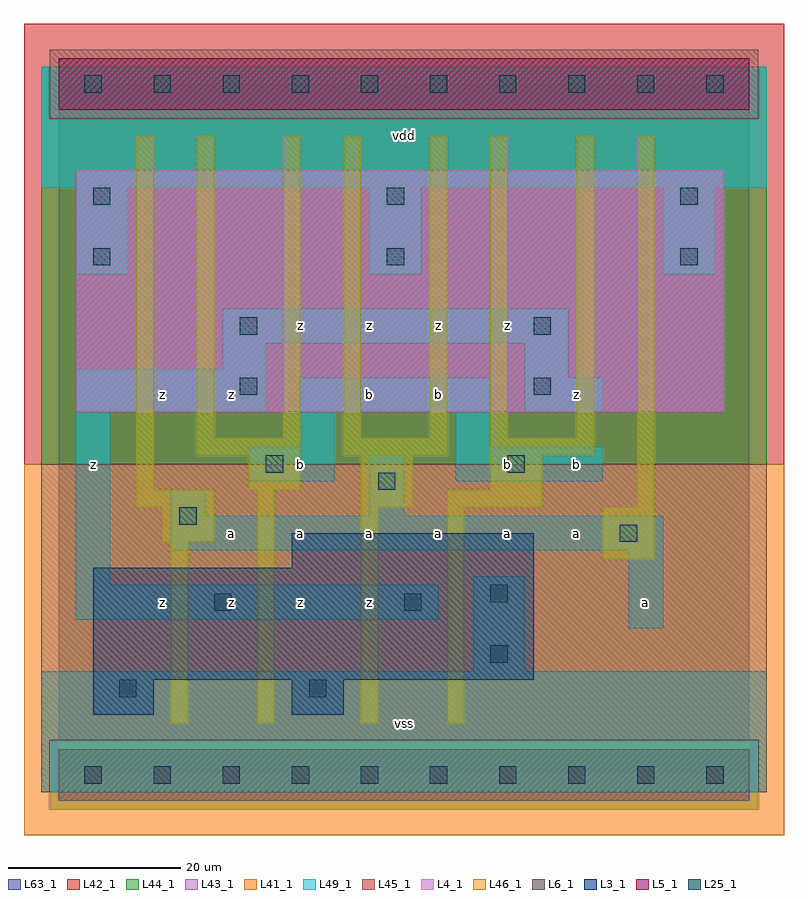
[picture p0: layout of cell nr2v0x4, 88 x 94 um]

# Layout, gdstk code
import gdstk
lib = gdstk.Library(unit=1e-6, precision=1e-09)
def R(c, l, rs):  # rectangles x0, y0, x1, y1
    for r in rs: c.add(gdstk.rectangle(r[:2], r[2:], *l))
def A(c, l, x, y, w, h, nx, ny, dx, dy):  # array of equal rectangles
    R(c, l, [(x+i*dx, y+j*dy, x+i*dx+w, y+j*dy+h) for i in range(nx) for j in range(ny)])
L3_1 = (3, 1)
L4_1 = (4, 1)
L5_1 = (5, 1)
L6_1 = (6, 1)
L25_1 = (25, 1)
L41_1 = (41, 1)
L42_1 = (42, 1)
L43_1 = (43, 1)
L44_1 = (44, 1)
L45_1 = (45, 1)
L46_1 = (46, 1)
L49_1 = (49, 1)
L63_1 = (63, 1)

nr2v0x4 = lib.new_cell('nr2v0x4')
R(nr2v0x4, L3_1, [(4,7,11,11), (27,7,33,11), (4,11,55,24), (27,24,55,28)])
R(nr2v0x4, L4_1, [(2,42,77,70)])
R(nr2v0x4, L5_1, [(0,77,80,83)])
R(nr2v0x4, L6_1, [(0,-3,80,3), (0,-3,80,3)])
A(nr2v0x4, L25_1, 3, -1, 2, 2, 10, 2, 8, 80)
A(nr2v0x4, L25_1, 4, 59, 2, 2, 3, 2, 34, 7)
R(nr2v0x4, L25_1, [(7,9,9,11), (29,9,31,11), (50,13,52,15), (18,19,20,21), (40,19,42,21), (50,20,52,22), (65,27,67,29), (14,29,16,31), (37,33,39,35), (24,35,26,37), (52,35,54,37), (21,44,23,46), (55,44,57,46), (21,51,23,53), (55,51,57,53)])
R(nr2v0x4, L41_1, [(-4,-7,84,36)])
R(nr2v0x4, L42_1, [(-4,36,84,87)])
R(nr2v0x4, L43_1, [(0,-3,80,3), (4,7,11,11), (27,7,33,11), (4,11,55,24), (27,24,55,28), (2,42,77,70), (0,77,80,83)])
R(nr2v0x4, L44_1, [(-1,-4,81,4), (-2,36,82,76), (-2,76,-1,82), (81,76,82,82)])
R(nr2v0x4, L45_1, [(-2,-2,-1,4), (81,-2,82,4), (-2,4,82,36), (-1,76,81,84)])
A(nr2v0x4, L46_1, 16, 37, 12, 2, 3, 1, 17, 0)
R(nr2v0x4, L46_1, [(13,6,15,27), (23,6,25,33), (35,6,37,31), (45,6,47,31), (63,25,69,31), (12,27,18,31), (9,31,18,33), (35,31,41,37), (45,31,56,33), (67,31,69,74), (9,33,11,74), (22,33,28,37), (50,33,56,37), (16,39,18,74), (26,39,28,74), (33,39,35,74), (43,39,45,74), (50,39,52,74), (60,39,62,74)])
A(nr2v0x4, L49_1, 2, 58, 6, 10, 3, 1, 34, 0)
R(nr2v0x4, L49_1, [(-2,-2,82,12), (48,12,54,23), (66,17,70,26), (2,18,44,22), (2,22,6,42), (13,26,70,30), (13,30,17,33), (36,30,40,37), (22,34,32,38), (46,34,63,38), (28,38,32,42), (46,38,50,42), (2,42,24,47), (28,42,50,46), (54,42,63,46), (54,46,59,50), (19,47,24,50), (19,50,59,54), (-2,68,82,82)])
R(nr2v0x4, L63_1, [(0,0,80,80)])
nr2v0x4.add(gdstk.Label('z', (4,36), layer=49, texttype=1))
nr2v0x4.add(gdstk.Label('z', (12,20), layer=49, texttype=1))
nr2v0x4.add(gdstk.Label('z', (20,20), layer=49, texttype=1))
nr2v0x4.add(gdstk.Label('a', (20,28), layer=49, texttype=1))
nr2v0x4.add(gdstk.Label('z', (28,20), layer=49, texttype=1))
nr2v0x4.add(gdstk.Label('a', (28,28), layer=49, texttype=1))
nr2v0x4.add(gdstk.Label('z', (12,44), layer=49, texttype=1))
nr2v0x4.add(gdstk.Label('z', (20,44), layer=49, texttype=1))
nr2v0x4.add(gdstk.Label('b', (28,36), layer=49, texttype=1))
nr2v0x4.add(gdstk.Label('z', (28,52), layer=49, texttype=1))
nr2v0x4.add(gdstk.Label('vss', (40,6), layer=49, texttype=1))
nr2v0x4.add(gdstk.Label('z', (36,20), layer=49, texttype=1))
nr2v0x4.add(gdstk.Label('a', (36,28), layer=49, texttype=1))
nr2v0x4.add(gdstk.Label('a', (44,28), layer=49, texttype=1))
nr2v0x4.add(gdstk.Label('b', (36,44), layer=49, texttype=1))
nr2v0x4.add(gdstk.Label('b', (44,44), layer=49, texttype=1))
nr2v0x4.add(gdstk.Label('z', (36,52), layer=49, texttype=1))
nr2v0x4.add(gdstk.Label('z', (44,52), layer=49, texttype=1))
nr2v0x4.add(gdstk.Label('vdd', (40,74), layer=49, texttype=1))
nr2v0x4.add(gdstk.Label('a', (52,28), layer=49, texttype=1))
nr2v0x4.add(gdstk.Label('a', (60,28), layer=49, texttype=1))
nr2v0x4.add(gdstk.Label('b', (52,36), layer=49, texttype=1))
nr2v0x4.add(gdstk.Label('b', (60,36), layer=49, texttype=1))
nr2v0x4.add(gdstk.Label('z', (60,44), layer=49, texttype=1))
nr2v0x4.add(gdstk.Label('z', (52,52), layer=49, texttype=1))
nr2v0x4.add(gdstk.Label('a', (68,20), layer=49, texttype=1))

lib.write_gds('nr2v0x4.gds')
